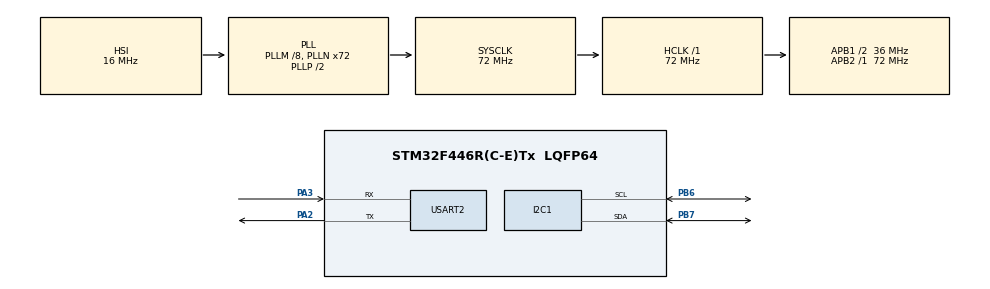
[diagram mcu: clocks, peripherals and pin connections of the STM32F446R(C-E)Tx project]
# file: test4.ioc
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Mcu.Family=STM32F4
Mcu.Name=STM32F446R(C-E)Tx
Mcu.Package=LQFP64
NVIC.PriorityGroup=NVIC_PRIORITYGROUP_4
PA13.Mode=Serial_Wire
PA13.Signal=SYS_JTMS-SWDIO
PA14.Mode=Serial_Wire
PA14.Signal=SYS_JTCK-SWCLK
PA2.Mode=Asynchronous
PA2.Signal=USART2_TX
PA3.Mode=Asynchronous
PA3.Signal=USART2_RX
PB6.Mode=I2C
PB6.Signal=I2C1_SCL
PB7.Mode=I2C
PB7.Signal=I2C1_SDA
ProjectManager.HeapSize=0x200
ProjectManager.StackSize=0x400
ProjectManager.TargetToolchain=STM32CubeIDE
RCC.AHBFreq_Value=72000000
RCC.APB1CLKDivider=RCC_HCLK_DIV2
RCC.APB1Freq_Value=36000000
RCC.APB1TimFreq_Value=72000000
RCC.APB2Freq_Value=72000000
RCC.APB2TimFreq_Value=72000000
RCC.CortexFreq_Value=72000000
RCC.HCLKFreq_Value=72000000
RCC.PLLM=8
RCC.PLLN=72
RCC.SYSCLKFreq_VALUE=72000000
RCC.SYSCLKSource=RCC_SYSCLKSOURCE_PLLCLK
RCC.USBFreq_Value=72000000
RCC.VCOOutputFreq_Value=144000000
USART2.VirtualMode=VM_ASYNC
board=custom

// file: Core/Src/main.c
#include "main.h"
#include "mpu6050.h"
#include <stdio.h>
#include <math.h>

I2C_HandleTypeDef hi2c1;

UART_HandleTypeDef huart2;

MPU6050_Data_t MPU6050_Data;
float roll, pitch;

/* USER CODE BEGIN PV */

// Define M_PI if it's not already defined by math.h
#ifndef M_PI
#define M_PI 3.14159265358979323846
#endif

// This allows you to use printf for debugging over UART
#ifdef __GNUC__
#define PUTCHAR_PROTOTYPE int __io_putchar(int ch)
#else
#define PUTCHAR_PROTOTYPE int fputc(int ch, FILE *f)
#endif /* __GNUC__ */

PUTCHAR_PROTOTYPE
{
  HAL_UART_Transmit(&huart2, (uint8_t *)&ch, 1, HAL_MAX_DELAY);
  return ch;
}
/* USER CODE END PV */

void SystemClock_Config(void);
static void MX_GPIO_Init(void);
static void MX_I2C1_Init(void);
static void MX_USART2_UART_Init(void);

int main(void)
{

  /* MCU Configuration--------------------------------------------------------*/

  /* Reset of all peripherals, Initializes the Flash interface and the Systick. */
  HAL_Init();

  /* Configure the system clock */
  SystemClock_Config();

  /* Initialize all configured peripherals */
  MX_GPIO_Init();
  MX_I2C1_Init();
  MX_USART2_UART_Init();
  /* USER CODE BEGIN 2 */
  printf("Starting MPU6050 Roll and Pitch application...\r\n");
  // Initialize the MPU6050 sensor
  if (MPU6050_Init(&hi2c1) != HAL_OK)
  {
    printf("MPU6050 Initialization Failed!\r\n");
    // You might want to loop here or toggle an error LED
    while(1);
  }
  else
  {
    printf("MPU6050 Initialized Successfully.\r\n");
  }

  /* USER CODE END 2 */

  /* Infinite loop */
  /* USER CODE BEGIN WHILE */
  while (1)
  {
	  // Read all sensor data from MPU6050
	      MPU6050_Read_All(&hi2c1, &MPU6050_Data);

	      // Get the accelerometer values from the data structure
	      float ax = MPU6050_Data.Ax;
	      float ay = MPU6050_Data.Ay;
	      float az = MPU6050_Data.Az;

	      // Calculate Roll (rotation around the X-axis) in degrees
	      // atan2 provides a more stable result than atan
	      roll = atan2(ay, az) * 180.0 / M_PI;

	      // Calculate Pitch (rotation around the Y-axis) in degrees
	      pitch = atan2(-ax, sqrt(ay * ay + az * az)) * 180.0 / M_PI;

	      // Print the calculated values to the serial terminal
	      printf("Roll: %.2f°, Pitch: %.2f°\r\n", roll, pitch);

	      // Wait for a short period before the next reading
	      HAL_Delay(100);
  }
  /* USER CODE END 3 */
}

void SystemClock_Config(void)
{
  RCC_OscInitTypeDef RCC_OscInitStruct = {0};
  RCC_ClkInitTypeDef RCC_ClkInitStruct = {0};

  /** Configure the main internal regulator output voltage
  */
  __HAL_RCC_PWR_CLK_ENABLE();
  __HAL_PWR_VOLTAGESCALING_CONFIG(PWR_REGULATOR_VOLTAGE_SCALE3);

  /** Initializes the RCC Oscillators according to the specified parameters
  * in the RCC_OscInitTypeDef structure.
  */
  RCC_OscInitStruct.OscillatorType = RCC_OSCILLATORTYPE_HSI;
  RCC_OscInitStruct.HSIState = RCC_HSI_ON;
  RCC_OscInitStruct.HSICalibrationValue = RCC_HSICALIBRATION_DEFAULT;
  RCC_OscInitStruct.PLL.PLLState = RCC_PLL_ON;
  RCC_OscInitStruct.PLL.PLLSource = RCC_PLLSOURCE_HSI;
  RCC_OscInitStruct.PLL.PLLM = 8;
  RCC_OscInitStruct.PLL.PLLN = 72;
  RCC_OscInitStruct.PLL.PLLP = RCC_PLLP_DIV2;
  RCC_OscInitStruct.PLL.PLLQ = 2;
  RCC_OscInitStruct.PLL.PLLR = 2;
  if (HAL_RCC_OscConfig(&RCC_OscInitStruct) != HAL_OK)
  {
    Error_Handler();
  }

  /** Initializes the CPU, AHB and APB buses clocks
  */
  RCC_ClkInitStruct.ClockType = RCC_CLOCKTYPE_HCLK|RCC_CLOCKTYPE_SYSCLK
                              |RCC_CLOCKTYPE_PCLK1|RCC_CLOCKTYPE_PCLK2;
  RCC_ClkInitStruct.SYSCLKSource = RCC_SYSCLKSOURCE_PLLCLK;
  RCC_ClkInitStruct.AHBCLKDivider = RCC_SYSCLK_DIV1;
  RCC_ClkInitStruct.APB1CLKDivider = RCC_HCLK_DIV2;
  RCC_ClkInitStruct.APB2CLKDivider = RCC_HCLK_DIV1;

  if (HAL_RCC_ClockConfig(&RCC_ClkInitStruct, FLASH_LATENCY_2) != HAL_OK)
  {
    Error_Handler();
  }
}

static void MX_I2C1_Init(void)
{

  hi2c1.Instance = I2C1;
  hi2c1.Init.ClockSpeed = 100000;
  hi2c1.Init.DutyCycle = I2C_DUTYCYCLE_2;
  hi2c1.Init.OwnAddress1 = 0;
  hi2c1.Init.AddressingMode = I2C_ADDRESSINGMODE_7BIT;
  hi2c1.Init.DualAddressMode = I2C_DUALADDRESS_DISABLE;
  hi2c1.Init.OwnAddress2 = 0;
  hi2c1.Init.GeneralCallMode = I2C_GENERALCALL_DISABLE;
  hi2c1.Init.NoStretchMode = I2C_NOSTRETCH_DISABLE;
  if (HAL_I2C_Init(&hi2c1) != HAL_OK)
  {
    Error_Handler();
  }

}

static void MX_USART2_UART_Init(void)
{

  huart2.Instance = USART2;
  huart2.Init.BaudRate = 115200;
  huart2.Init.WordLength = UART_WORDLENGTH_8B;
  huart2.Init.StopBits = UART_STOPBITS_1;
  huart2.Init.Parity = UART_PARITY_NONE;
  huart2.Init.Mode = UART_MODE_TX_RX;
  huart2.Init.HwFlowCtl = UART_HWCONTROL_NONE;
  huart2.Init.OverSampling = UART_OVERSAMPLING_16;
  if (HAL_UART_Init(&huart2) != HAL_OK)
  {
    Error_Handler();
  }

}

static void MX_GPIO_Init(void)
{

  /* GPIO Ports Clock Enable */
  __HAL_RCC_GPIOA_CLK_ENABLE();
  __HAL_RCC_GPIOB_CLK_ENABLE();

}

void Error_Handler(void)
{
  __disable_irq();
  while (1)
  {
  }
}
